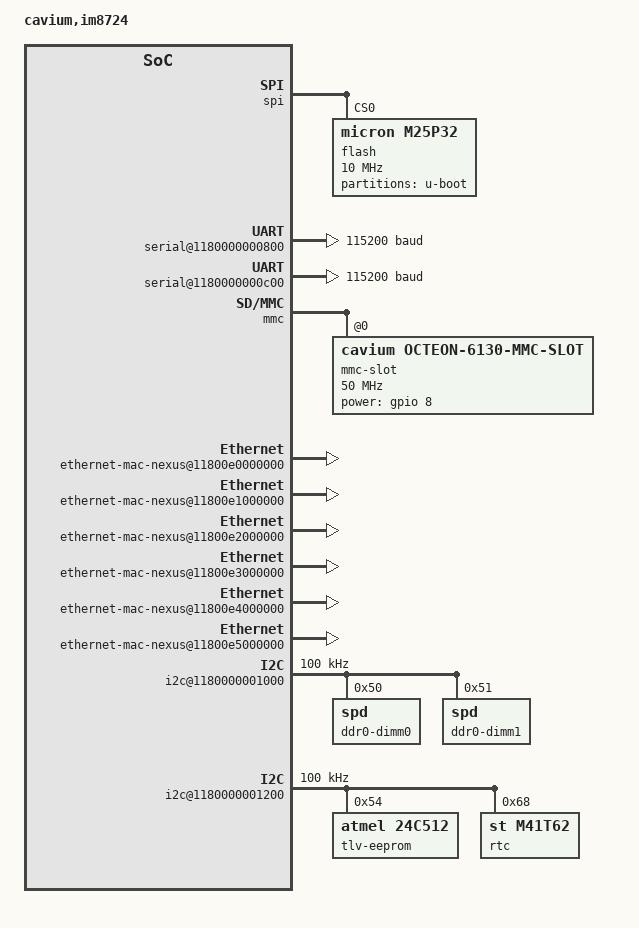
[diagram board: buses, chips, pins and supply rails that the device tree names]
/dts-v1/;
/*
 * Cavium Inc. EVB CN7800
 */
/ {
	model = "cavium,im8724";
	compatible = "cavium,im8724";
	#address-cells = <2>;
	#size-cells = <2>;

	soc@0 {
		interrupt-parent = <&ciu3>;
		compatible = "simple-bus";
		#address-cells = <2>;
		#size-cells = <2>;
		ranges; /* Direct mapping */

		ciu3: interrupt-controller@1010000000000 {
			compatible = "cavium,octeon-7890-ciu3";
			interrupt-controller;
			/* Interrupts are specified by two parts:
			 * 1) Source number (20 significant bits)
			 * 2) Trigger type: (4 == level, 1 == edge)
			 */
			#address-cells = <0>;
			#interrupt-cells = <2>;
			reg = <0x10100 0x00000000 0x0 0xb0000000>;
		};

		gpio: gpio-controller@1070000000800 {
			#gpio-cells = <2>;
			compatible = "cavium,octeon-3860-gpio";
			reg = <0x10700 0x00000800 0x0 0x100>;
			gpio-controller;
			/* Interrupts are specified by two parts:
			 * 1) GPIO pin number (0..15)
			 * 2) Triggering (1 - edge rising
			 *                2 - edge falling
			 *                4 - level active high
			 *                8 - level active low)
			 */
			interrupt-controller;
			#interrupt-cells = <2>;
			/* The GPIO pins connect to 16 consecutive CUI bits */
			interrupts = <0 16>, <0 17>, <0 18>, <0 19>,
				     <0 20>, <0 21>, <0 22>, <0 23>,
				     <0 24>, <0 25>, <0 26>, <0 27>,
				     <0 28>, <0 29>, <0 30>, <0 31>;
		};

		bootbus: bootbus@1180000000000 {
			compatible = "cavium,octeon-3860-bootbus";
			reg = <0x11800 0x00000000 0x0 0x200>;
			/* The chip select number and offset */
			#address-cells = <2>;
			/* The size of the chip select region */
			#size-cells = <1>;
			ranges = <0 0  0       0x17c00000  0x8400000>,
				 <1 0  0x10000 0x10000000  0>,
				 <2 0  0x10000 0x20000000  0>,
				 <3 0  0x10000 0x30000000  0>,
				 <4 0  0x10000 0x40000000  0>,
				 <5 0  0x10000 0x50000000  0>,
				 <6 0  0x10000 0x60000000  0>,
				 <7 0  0x10000 0x90000000  0>;

			cavium,cs-config@0 {
				compatible = "cavium,octeon-3860-bootbus-config";
				cavium,cs-index = <0>;
				cavium,t-adr  = <10>;
				cavium,t-ale  = <5>;
				cavium,t-ce   = <100>;
				cavium,t-oe   = <30>;
				cavium,t-we   = <35>;
				cavium,t-rd-hld = <0>;
				cavium,t-wr-hld = <20>;
				cavium,t-pause  = <0>;
				cavium,t-wait   = <0>;
				cavium,t-page   = <20>;
				cavium,t-rd-dly = <0>;

				cavium,page-mode = <1>;
				cavium,pages     = <8>;
				cavium,bus-width = <16>;
				cavium,ale-mode  = <1>;
			};

			spi: spi@1070000001000 {
				compatible = "cavium,octeon-3010-spi";
				reg = <0x10700 0x00001000 0x0 0x100>;
				interrupts = <0 58>;
				#address-cells = <1>;
				#size-cells = <0>;
				spi-max-frequency = <100000000>;

				flash@0 {
					compatible = "micron,m25p32","spi-flash";
					reg = <0>;
					spi-max-frequency = <10000000>;
					mode = <0>;

					pagesize = <256>;
					size = <0x200000>;
					address-width = <24>;
					partition@0 {
						reg = <0x0 0x80000>;
						label = "u-boot";
					};
				};
			};
		};

		serial@1180000000800 {
			compatible = "cavium,octeon-3860-uart","ns16550";
			reg = <0x11800 0x00000800 0x0 0x400>;
			clock-frequency = <0>;
			current-speed = <115200>;
			reg-shift = <3>;
			interrupts = <0x08000 4>;
			cavium,board-trim = "0,notrev1";
		};

		serial@1180000000c00 {
			compatible = "cavium,octeon-3860-uart","ns16550";
			reg = <0x11800 0x00000c00 0x0 0x400>;
			clock-frequency = <0>;
			current-speed = <115200>;
			reg-shift = <3>;
			interrupts = <0x08040 4>;
		};

		mmc: mmc@1180000002000 {
			compatible = "cavium,octeon-6130-mmc";
			reg = <0x11800 0x00002000 0x0 0x100>,
			      <0x11800 0x00000168 0x0 0x20>;
			#address-cells = <1>;
			#size-cells = <0>;
			/* EMM irq, DMA irq */
			interrupts = <1 19>, <0 63>;

			/* The board only has a single MMC slot */
			mmc-slot@0 {
				compatible = "cavium,octeon-6130-mmc-slot";
				reg = <0>;
				voltage-ranges = <3300 3300>;
				spi-max-frequency = <50000000>;
				/* bus width can be 1, 4 or 8 */
				cavium,bus-max-width = <8>;
				power-gpios = <&gpio 8 0>;
			};
		};

		/* BGX definitions here must match sim_board.c settings. */
		/* BGX 0*/
		ethernet-mac-nexus@11800e0000000 {
			compatible = "cavium,octeon-7890-bgx";
			reg = <0x11800 0xe0000000 0x0 0x1000000>;
			#address-cells = <1>;
			#size-cells = <0>;
		};

		/* BGX 1 */
		ethernet-mac-nexus@11800e1000000 {
			compatible = "cavium,octeon-7890-bgx";
			reg = <0x11800 0xe1000000 0x0 0x1000000>;
			#address-cells = <1>;
			#size-cells = <0>;
		};

		/* BGX 2 */
		ethernet-mac-nexus@11800e2000000 {
			compatible = "cavium,octeon-7890-bgx";
			reg = <0x11800 0xe2000000 0x0 0x1000000>;
			#address-cells = <1>;
			#size-cells = <0>;
		};

		/* BGX 3 */
		ethernet-mac-nexus@11800e3000000 {
			compatible = "cavium,octeon-7890-bgx";
			reg = <0x11800 0xe3000000 0x0 0x1000000>;
			#address-cells = <1>;
			#size-cells = <0>;
		};

		/* BGX 4*/
		ethernet-mac-nexus@11800e4000000 {
			compatible = "cavium,octeon-7890-bgx";
			reg = <0x11800 0xe4000000 0x0 0x1000000>;
			#address-cells = <1>;
			#size-cells = <0>;
		};

		/* BGX 5 */
		ethernet-mac-nexus@11800e5000000 {
			compatible = "cavium,octeon-7890-bgx";
			reg = <0x11800 0xe5000000 0x0 0x1000000>;
			#address-cells = <1>;
			#size-cells = <0>;
		};

		i2c@1180000001000 {
			#address-cells = <1>;
			#size-cells = <0>;
			compatible = "cavium,octeon-7890-twsi";
			reg = <0x11800 0x00001000 0x0 0x200>;
			/* INT_ST, INT_TS, INT_CORE */
			interrupts = <0x0b000 1>, <0x0b001 1>, <0x0b002 1>;
			clock-frequency = <100000>;

			/* NOTE: spd is not quite right for DDR4.  Currently
			 * Linux does not support the DDR4 SPD EEPROM.
			 */
			ddr0-dimm0@50 {
				compatible = "spd";
				reg = <0x50>;
			};
			ddr0-dimm1@51 {
				compatible = "spd";
				reg = <0x51>;
			};
		};

		i2c@1180000001200 {
			#address-cells = <1>;
			#size-cells = <0>;
			compatible = "cavium,octeon-7890-twsi";
			reg = <0x11800 0x00001200 0x0 0x200>;
			/* INT_ST, INT_TS, INT_CORE */
			interrupts = <0x0b100 1>, <0x0b101 1>, <0x0b102 1>;
			clock-frequency = <100000>;

			tlv-eeprom@54 {
				compatible = "atmel,24c512";
				reg = <0x54>;
				pagesize = <128>;
			};
			rtc@68 {
				compatible = "st,m41t62";
				reg = <0x68>;
			};
		};
	};

	gpio-leds {
		compatible = "gpio-leds";
	};
};
